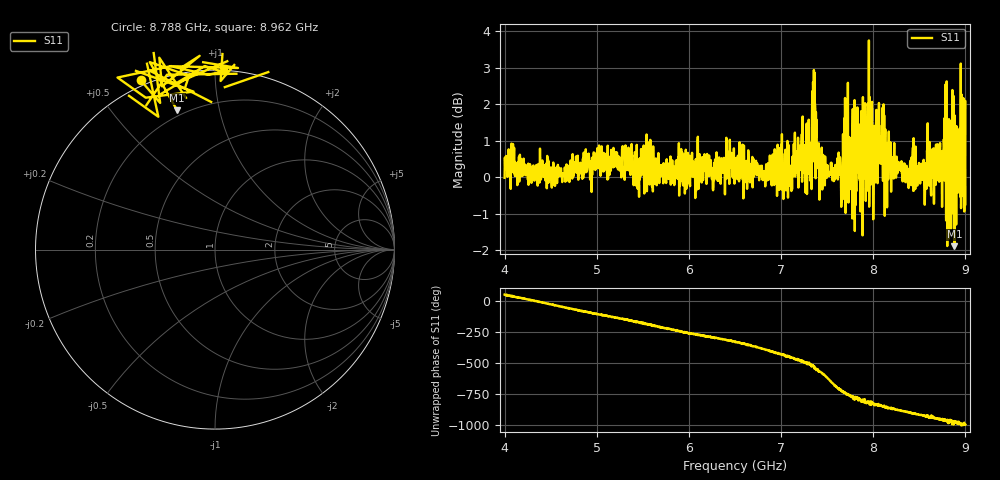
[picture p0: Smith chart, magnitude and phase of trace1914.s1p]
! Created with skrf 1.8.0 (http://scikit-rf.org).
# Hz S RI R 50.0
!freq ReS11 ImS11
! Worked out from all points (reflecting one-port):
!   1601 points, 4 GHz to 9 GHz, reference 50 ohm
!   lowest |S11| = -1.9 dB at 8.881 GHz (marker M1), VSWR 9.22, Z = 8.53 + j37.5 ohm
!   phase of S11 starts at 52 deg and turns -1051 deg over the sweep
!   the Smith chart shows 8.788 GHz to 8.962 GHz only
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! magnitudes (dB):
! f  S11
! 4 GHz  0.0
! 4.625 GHz  -0.1
! 5.25 GHz  0.2
! 5.875 GHz  0.2
! 6.5 GHz  0.0
! 7.125 GHz  0.1
! 7.306 GHz  0.9
! 7.359 GHz  1.0
! 7.4 GHz  0.6
! 7.438 GHz  -0.1
! 7.659 GHz  -0.7
! 7.7 GHz  -1.0
! 7.75 GHz  0.0
! 7.784 GHz  0.0
! 7.844 GHz  0.2
! 7.859 GHz  1.4
! 7.928 GHz  1.2
! 7.966 GHz  0.1
! 7.981 GHz  0.4
! 8.047 GHz  -0.2
! 8.147 GHz  0.3
! 8.375 GHz  0.0
! 8.728 GHz  -0.1
! 8.775 GHz  1.6
! 8.828 GHz  -1.0
! 8.881 GHz  -1.9
! 8.972 GHz  0.7
! 9 GHz  -0.7
